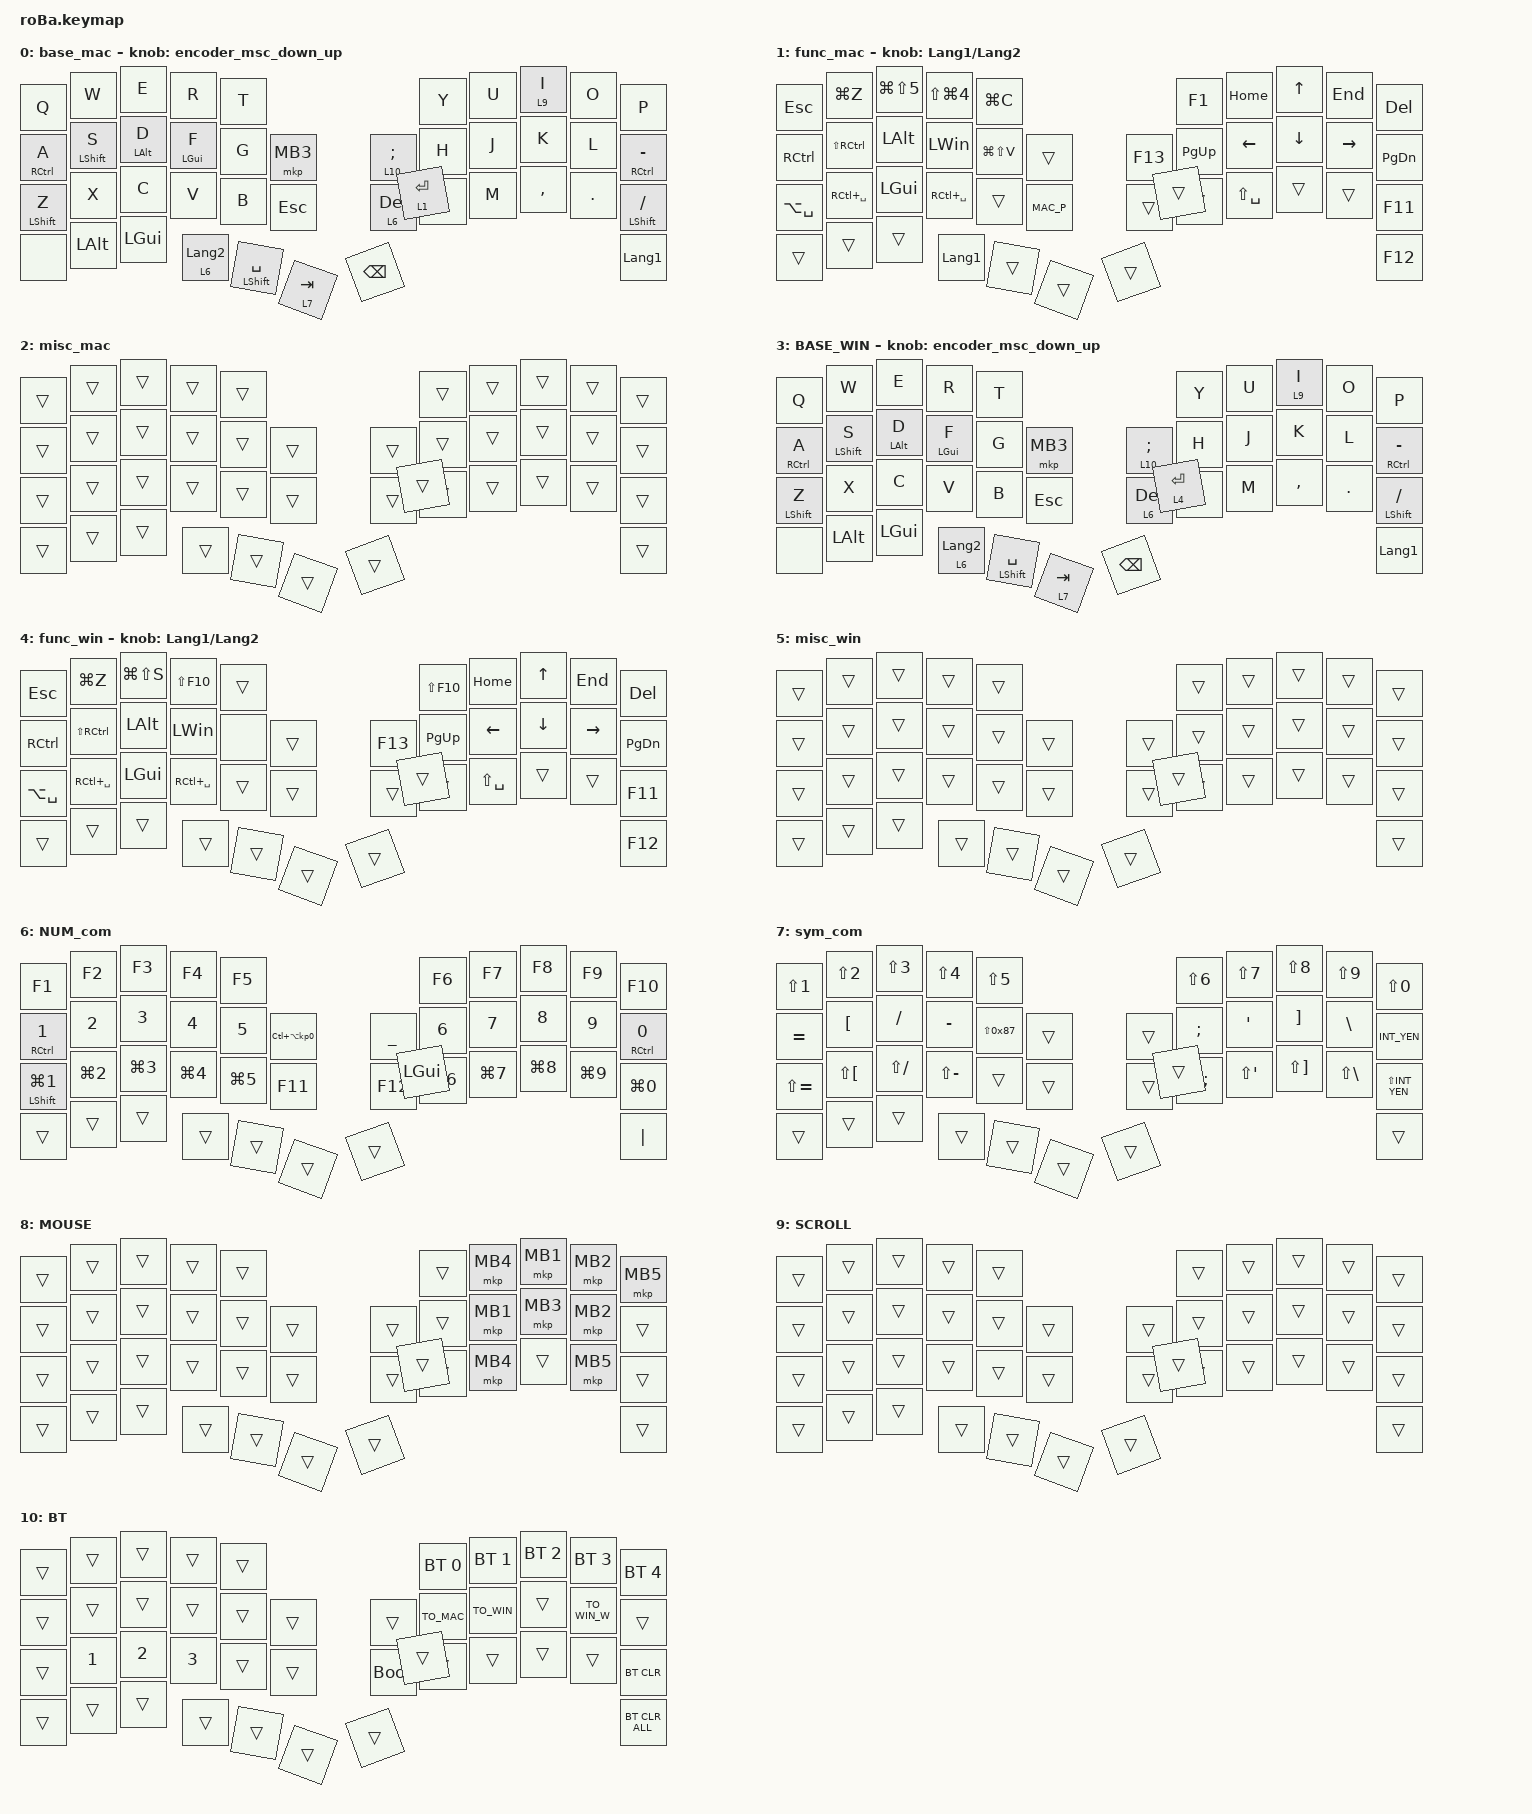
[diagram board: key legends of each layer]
#include <input/processors.dtsi>
#include <behaviors.dtsi>
#include <dt-bindings/zmk/bt.h>
#include <dt-bindings/zmk/keys.h>
#include <dt-bindings/zmk/pointing.h>

#define JP_DQUOTE       AT                // "
#define JP_AMPERSAND    CARET             // &
#define JP_QUOTE        AMPERSAND         // '
#define JP_EQUAL        UNDER             // =
#define JP_CARET        EQUAL             // ^
#define JP_YEN          0x89              // ¥
#define JP_PLUS         COLON             // +
#define JP_TILDE        PLUS              // ~
#define JP_PIPE         LS(0x89)          // |
#define JP_AT           LEFT_BRACKET      // @
#define JP_COLON        SINGLE_QUOTE      // :
#define JP_ASTERISK     DOUBLE_QUOTES     // *
#define JP_BACKQUOTE    LEFT_BRACE        // `
#define JP_UNDERSCORE   LS(0x87)          // _
#define JP_LBRACKET     RIGHT_BRACKET     // [
#define JP_RBRACKET     BACKSLASH         // ]
#define JP_LPAREN       ASTERISK          // (
#define JP_RPAREN       LEFT_PARENTHESIS  // )
#define JP_LBRACE       RIGHT_BRACE       // {
#define JP_RBRACE       PIPE              // }
#define JP_KANA         LANGUAGE_1        // かな
#define JP_EISU         LANGUAGE_2        // 英数
#define JP_HANZEN       GRAVE             // 半角/全角
#define ZMK_POINTING_DEFAULT_SCRL_VAL 80
#define MOUSE 8

&mt {
    flavor = "balanced";
    quick-tap-ms = <0>;
};

&mkp_input_listener { input-processors = <&zip_temp_layer 8 10000>; };

&trackball {
    automouse-layer = <8>;
    scroll-layers = <9>;

    // arrows {
    //     layers = <3>;
    //     bindings =
    //         <&kp RIGHT_ARROW>,
    //         <&kp LEFT_ARROW>,
    //         <&kp UP_ARROW>,
    //         <&kp DOWN_ARROW>;
    //     tick = <10>;
    //     wait-ms = <5>;
    //     tap-ms = <5>;
    // };
};

/ {
    combos {
        compatible = "zmk,combos";

        eisu {
            bindings = <&kp LANGUAGE_2>;
            key-positions = <7 8>;
        };

        kana {
            bindings = <&kp LANGUAGE_1>;
            key-positions = <1 2>;
        };

        To_layer10 {
            bindings = <&mo 10>;
            key-positions = <41 36>;
        };

        GUIcombo {
            bindings = <&kp RIGHT_GUI>;
            key-positions = <18 19>;
            slow-release;
            timeout-ms = <70>;
            require-prior-idle-ms = <100>;
        };

        ALTcombo {
            bindings = <&kp RIGHT_ALT>;
            key-positions = <19 20>;
            slow-release;
            timeout-ms = <70>;
            require-prior-idle-ms = <100>;
        };

        shiftCombo {
            bindings = <&kp LEFT_SHIFT>;
            key-positions = <20 21>;
            slow-release;
            timeout-ms = <70>;
            require-prior-idle-ms = <100>;
        };

        altguicombo {
            bindings = <&kp RA(LEFT_GUI)>;
            key-positions = <18 19 20>;
        };
    };

    macros {
        TO_MAC: TO_MAC {
            compatible = "zmk,behavior-macro";
            #binding-cells = <0>;
            bindings =
                <&tog_off 0 &tog_off 3>,
                <&macro_wait_time 200>,
                <&bt BT_SEL 0>,
                <&macro_wait_time 500>;

            label = "TO_MAC";
        };

        TO_WIN: TO_WIN {
            compatible = "zmk,behavior-macro";
            #binding-cells = <0>;
            bindings =
                <&tog_off 0 &tog_off 3>,
                <&macro_wait_time 200>,
                <&bt BT_SEL 4>,
                <&macro_wait_time 500>,
                <&tog_on 3>;

            label = "TO_WIN";
        };

        MAC_P: MAC_PW {
            compatible = "zmk,behavior-macro";
            #binding-cells = <0>;
            bindings = <&none &kp X &kp S &kp N4 &kp Q &kp H &kp N>;
            label = "MAC_PW";
        };

        exit_AML: exit_AML {
            compatible = "zmk,behavior-macro";
            wait-ms = <0>;
            tap-ms = <0>;
            #binding-cells = <0>;
            bindings = <&tog_off 8>;
            label = "exit_AML";
        };

        kp_exit_AML: kp_exit_AML {
            compatible = "zmk,behavior-macro-one-param";
            wait-ms = <0>;
            tap-ms = <0>;
            #binding-cells = <1>;
            bindings = <&macro_param_1to1 &kp MACRO_PLACEHOLDER &exit_AML>;
            label = "KP_exit_AML";
        };

        TO_WIN_W: TO_WIN_W {
            compatible = "zmk,behavior-macro";
            #binding-cells = <0>;
            bindings =
                <&tog_off 0 &tog_off 3>,
                <&macro_wait_time 200>,
                <&bt BT_SEL 3>,
                <&macro_wait_time 500>,
                <&tog_on 3>;

            label = "TO_WIN_W";
        };
    };

    behaviors {
        encoder_msc_down_up: encoder_msc_down_up {
            compatible = "zmk,behavior-sensor-rotate";
            label = "ENCODER_MSC_DOWN_UP";
            #sensor-binding-cells = <0>;
            bindings = <&msc SCRL_DOWN>, <&msc SCRL_UP>;

            tap-ms = <20>;
        };

        tog_on: toggle_layer_on {
            compatible = "zmk,behavior-toggle-layer";
            #binding-cells = <1>;
            display-name = "Toggle Layer On";
            toggle-mode = "on";
        };

        tog_off: toggle_layer_off {
            compatible = "zmk,behavior-toggle-layer";
            #binding-cells = <1>;
            display-name = "Toggle Layer Off";
            toggle-mode = "off";
        };

        mt_exit_AML_on_tap: mt_exit_AML_on_tap {
            compatible = "zmk,behavior-hold-tap";
            label = "MT_exit_AML_ON_TAP";
            bindings = <&kp>, <&kp_exit_AML>;

            #binding-cells = <2>;
            tapping-term-ms = <200>;
            flavor = "balanced";
            quick-tap-ms = <200>;
        };

        hmr_left_AltGui: hmr_left_AltGui {
            compatible = "zmk,behavior-hold-tap";
            label = "HMR_LEFT_ALTGUI";
            bindings = <&kp>, <&kp>;

            #binding-cells = <2>;
            tapping-term-ms = <280>;
            flavor = "balanced";
            hold-trigger-key-positions = <5 6 7 8 9 17 18 19 20 21 29 30 31 32 33>;
            hold-trigger-on-release;
            require-prior-idle-ms = <150>;
        };

        hmr_left_ShiftCrtl: hmr_left_ShiftCrtl {
            compatible = "zmk,behavior-hold-tap";
            label = "HMR_LEFT_SHIFTCRTL";
            bindings = <&kp>, <&kp>;

            #binding-cells = <2>;
            tapping-term-ms = <280>;
            flavor = "balanced";
            hold-trigger-key-positions = <5 6 7 8 9 17 18 19 20 21 29 30 31 32 33>;
            hold-trigger-on-release;
            require-prior-idle-ms = <150>;
            hold-while-undecided;
        };
    };

    keymap {
        compatible = "zmk,keymap";

        base_mac {
            bindings = <
&kp Q                             &kp W                             &kp E                        &kp R                        &kp T                                                  &kp Y        &kp U  &lt 9 I    &kp O    &kp P
&hmr_left_ShiftCrtl RCTRL A       &hmr_left_ShiftCrtl LEFT_SHIFT S  &hmr_left_AltGui LEFT_ALT D  &hmr_left_AltGui LEFT_GUI F  &kp G                 &mkp MB3       &lt 10 SEMICOLON  &kp H        &kp J  &kp K      &kp L    &mt RIGHT_CONTROL MINUS
&hmr_left_ShiftCrtl LEFT_SHIFT Z  &kp X                             &kp C                        &kp V                        &kp B                 &kp ESC        &lt 6 DELETE      &kp N        &kp M  &kp COMMA  &kp DOT  &mt LEFT_SHIFT SLASH
&none                             &kp LEFT_ALT                      &kp LEFT_GUI                 &lt 6 LANGUAGE_2             &mt LEFT_SHIFT SPACE  &lt 7 TAB      &kp BACKSPACE     &lt 1 ENTER                             &kp LANGUAGE_1
            >;

            //            sensor-bindings = <&inc_dec_kp PG_UP PAGE_DOWN>;

            sensor-bindings = <&encoder_msc_down_up>;
        };

        func_mac {
            bindings = <
&kp ESC        &kp LG(Z)      &kp LG(LS(NUMBER_5))  &kp LS(LG(NUMBER_4))  &kp LG(C)                           &kp F1       &kp HOME        &kp UP_ARROW    &kp END          &kp DELETE
&kp RCTRL      &kp LS(RCTRL)  &kp LEFT_ALT          &kp LEFT_WIN          &kp LG(LS(V))  &trans      &kp F13  &kp PAGE_UP  &kp LEFT_ARROW  &kp DOWN_ARROW  &kp RIGHT_ARROW  &kp PAGE_DOWN
&kp LA(SPACE)  &kp RC(SPACE)  &kp LEFT_GUI          &kp RC(SPACE)         &trans         &MAC_P      &trans   &trans       &kp LS(SPACE)   &trans          &trans           &kp F11
&trans         &trans         &trans                &kp LANGUAGE_1        &trans         &trans      &trans   &trans                                                        &kp F12
            >;

            sensor-bindings = <&inc_dec_kp LANGUAGE_1 LANGUAGE_2>;
        };

        misc_mac {
            bindings = <
&trans  &trans  &trans  &trans  &trans                      &trans  &trans  &trans  &trans  &trans
&trans  &trans  &trans  &trans  &trans  &trans      &trans  &trans  &trans  &trans  &trans  &trans
&trans  &trans  &trans  &trans  &trans  &trans      &trans  &trans  &trans  &trans  &trans  &trans
&trans  &trans  &trans  &trans  &trans  &trans      &trans  &trans                          &trans
            >;
        };

        BASE_WIN {
            bindings = <
&kp Q                             &kp W                             &kp E                        &kp R                        &kp T                                                  &kp Y        &kp U  &lt 9 I    &kp O    &kp P
&hmr_left_ShiftCrtl RCTRL A       &hmr_left_ShiftCrtl LEFT_SHIFT S  &hmr_left_AltGui LEFT_ALT D  &hmr_left_AltGui LEFT_GUI F  &kp G                 &mkp MB3       &lt 10 SEMICOLON  &kp H        &kp J  &kp K      &kp L    &mt RCTRL MINUS
&hmr_left_ShiftCrtl LEFT_SHIFT Z  &kp X                             &kp C                        &kp V                        &kp B                 &kp ESC        &lt 6 DELETE      &kp N        &kp M  &kp COMMA  &kp DOT  &mt LEFT_SHIFT SLASH
&none                             &kp LEFT_ALT                      &kp LEFT_GUI                 &lt 6 LANGUAGE_2             &mt LEFT_SHIFT SPACE  &lt 7 TAB      &kp BACKSPACE     &lt 4 ENTER                             &kp LANGUAGE_1
            >;

            sensor-bindings = <&encoder_msc_down_up>;
        };

        func_win {
            bindings = <
&kp ESC        &kp LG(Z)      &kp LG(LS(S))  &kp LS(F10)    &trans                       &kp LS(F10)  &kp HOME        &kp UP_ARROW    &kp END          &kp DELETE
&kp RCTRL      &kp LS(RCTRL)  &kp LEFT_ALT   &kp LEFT_WIN   &none   &trans      &kp F13  &kp PAGE_UP  &kp LEFT_ARROW  &kp DOWN_ARROW  &kp RIGHT_ARROW  &kp PAGE_DOWN
&kp LA(SPACE)  &kp RC(SPACE)  &kp LEFT_GUI   &kp RC(SPACE)  &trans  &trans      &trans   &trans       &kp LS(SPACE)   &trans          &trans           &kp F11
&trans         &trans         &trans         &trans         &trans  &trans      &trans   &trans                                                        &kp F12
            >;

            sensor-bindings = <&inc_dec_kp LANGUAGE_1 LANGUAGE_2>;
        };

        misc_win {
            bindings = <
&trans  &trans  &trans  &trans  &trans                      &trans  &trans  &trans  &trans  &trans
&trans  &trans  &trans  &trans  &trans  &trans      &trans  &trans  &trans  &trans  &trans  &trans
&trans  &trans  &trans  &trans  &trans  &trans      &trans  &trans  &trans  &trans  &trans  &trans
&trans  &trans  &trans  &trans  &trans  &trans      &trans  &trans                          &trans
            >;
        };

        NUM_com {
            bindings = <
&kp F1                       &kp F2            &kp F3            &kp F4            &kp F5                                                         &kp F6            &kp F7            &kp F8            &kp F9            &kp F10
&mt RCTRL NUMBER_1           &kp NUMBER_2      &kp NUMBER_3      &kp NUMBER_4      &kp NUMBER_5      &kp LC(LA(KP_NUMBER_0))      &kp UNDERSCORE  &kp NUMBER_6      &kp NUMBER_7      &kp NUMBER_8      &kp NUMBER_9      &mt RCTRL NUMBER_0
&mt LEFT_SHIFT LG(NUMBER_1)  &kp LG(NUMBER_2)  &kp LG(NUMBER_3)  &kp LG(NUMBER_4)  &kp LG(NUMBER_5)  &kp F11                      &kp F12         &kp LG(NUMBER_6)  &kp LG(NUMBER_7)  &kp LG(NUMBER_8)  &kp LG(NUMBER_9)  &kp LG(NUMBER_0)
&trans                       &trans            &trans            &trans            &trans            &trans                       &trans          &kp LEFT_GUI                                                            &kp PIPE
            >;
        };

        sym_com {
            bindings = <
&kp LS(NUMBER_1)  &kp LS(NUMBER_2)      &kp LS(NUMBER_3)  &kp LS(NUMBER_4)  &kp LS(NUMBER_5)                      &kp LS(NUMBER_6)   &kp LS(NUMBER_7)      &kp LS(NUMBER_8)       &kp LS(NUMBER_9)   &kp LS(NUMBER_0)
&kp EQUAL         &kp LEFT_BRACKET      &kp SLASH         &kp MINUS         &kp LS(0x87)      &trans      &trans  &kp SEMICOLON      &kp SINGLE_QUOTE      &kp RIGHT_BRACKET      &kp BACKSLASH      &kp INT_YEN
&kp LS(EQUAL)     &kp LS(LEFT_BRACKET)  &kp LS(SLASH)     &kp LS(MINUS)     &trans            &trans      &trans  &kp LS(SEMICOLON)  &kp LS(SINGLE_QUOTE)  &kp LS(RIGHT_BRACKET)  &kp LS(BACKSLASH)  &kp LS(INT_YEN)
&trans            &trans                &trans            &trans            &trans            &trans      &trans  &trans                                                                             &trans
            >;
        };

        MOUSE {
            bindings = <
&trans  &trans  &trans  &trans  &trans                      &trans  &mkp MB4  &mkp MB1  &mkp MB2  &mkp MB5
&trans  &trans  &trans  &trans  &trans  &trans      &trans  &trans  &mkp MB1  &mkp MB3  &mkp MB2  &trans
&trans  &trans  &trans  &trans  &trans  &trans      &trans  &trans  &mkp MB4  &trans    &mkp MB5  &trans
&trans  &trans  &trans  &trans  &trans  &trans      &trans  &trans                                &trans
            >;
        };

        SCROLL {
            bindings = <
&trans  &trans  &trans  &trans  &trans                      &trans  &trans  &trans  &trans  &trans
&trans  &trans  &trans  &trans  &trans  &trans      &trans  &trans  &trans  &trans  &trans  &trans
&trans  &trans  &trans  &trans  &trans  &trans      &trans  &trans  &trans  &trans  &trans  &trans
&trans  &trans  &trans  &trans  &trans  &trans      &trans  &trans                          &trans
            >;
        };

        BT {
            bindings = <
&trans  &trans        &trans        &trans        &trans                           &bt BT_SEL 0  &bt BT_SEL 1  &bt BT_SEL 2  &bt BT_SEL 3  &bt BT_SEL 4
&trans  &trans        &trans        &trans        &trans  &trans      &trans       &TO_MAC       &TO_WIN       &trans        &TO_WIN_W     &trans
&trans  &kp NUMBER_1  &kp NUMBER_2  &kp NUMBER_3  &trans  &trans      &bootloader  &trans        &trans        &trans        &trans        &bt BT_CLR
&trans  &trans        &trans        &trans        &trans  &trans      &trans       &trans                                                  &bt BT_CLR_ALL
            >;
        };
    };
};
